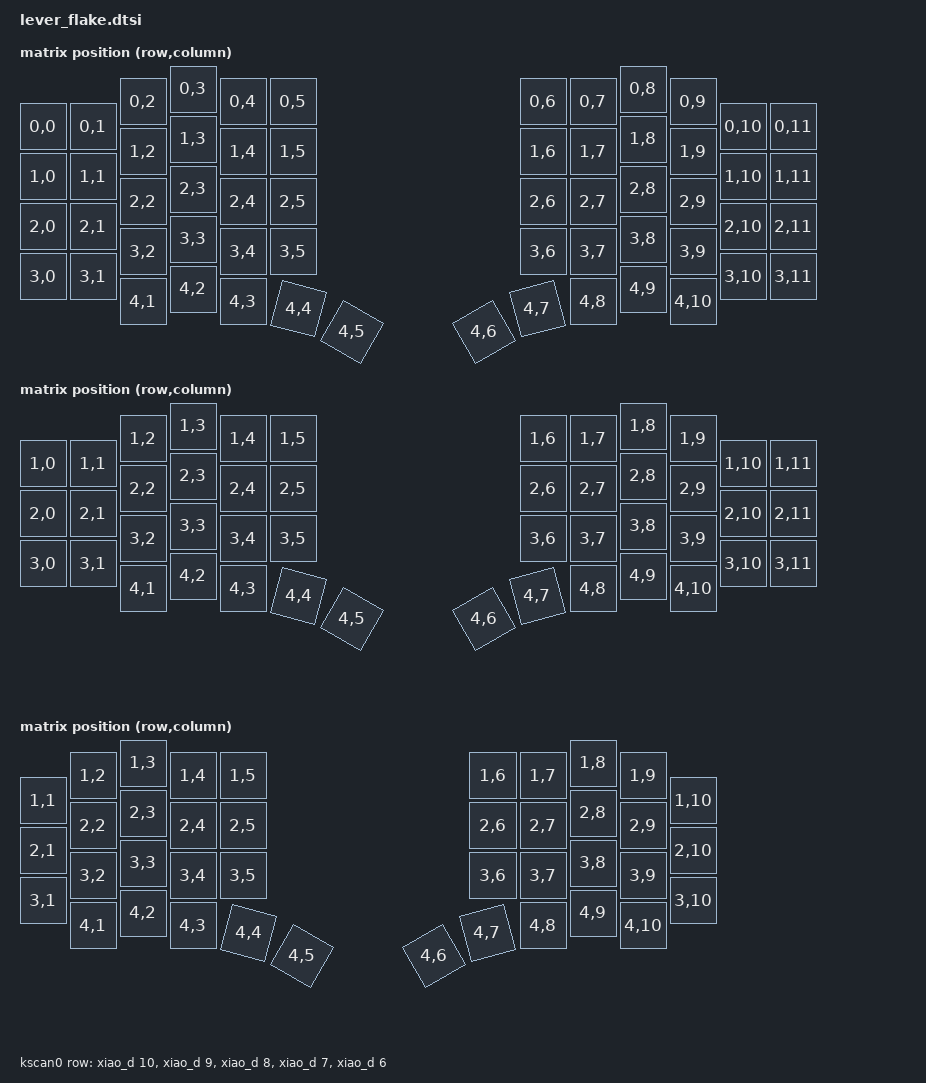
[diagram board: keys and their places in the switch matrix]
#include <dt-bindings/zmk/matrix_transform.h>
#include <physical_layouts.dtsi>

/ {
    kscan0: kscan0 {
        compatible = "zmk,kscan-gpio-matrix";
        diode-direction = "col2row";
        wakeup-source;

        row-gpios
        = <&xiao_d 10 (GPIO_ACTIVE_HIGH | GPIO_PULL_DOWN)>
        , <&xiao_d 9  (GPIO_ACTIVE_HIGH | GPIO_PULL_DOWN)>
        , <&xiao_d 8  (GPIO_ACTIVE_HIGH | GPIO_PULL_DOWN)>
        , <&xiao_d 7  (GPIO_ACTIVE_HIGH | GPIO_PULL_DOWN)>
        , <&xiao_d 6  (GPIO_ACTIVE_HIGH | GPIO_PULL_DOWN)>
        ;
    };

    chosen {
        zmk,kscan = &kscan0;
        zmk,physical-layout = &large_layout;
    };

    large_layout: large_layout {
        compatible = "zmk,physical-layout";
        display-name = "Flake L Layout";
        transform = <&large_transform>;

        keys  //                     w   h    x    y     rot    rx    ry
            = <&key_physical_attrs 100 100    0   75       0     0     0>
            , <&key_physical_attrs 100 100  100   75       0     0     0>
            , <&key_physical_attrs 100 100  200   25       0     0     0>
            , <&key_physical_attrs 100 100  300    0       0     0     0>
            , <&key_physical_attrs 100 100  400   25       0     0     0>
            , <&key_physical_attrs 100 100  500   25       0     0     0>
            , <&key_physical_attrs 100 100 1000   25       0     0     0>
            , <&key_physical_attrs 100 100 1100   25       0     0     0>
            , <&key_physical_attrs 100 100 1200    0       0     0     0>
            , <&key_physical_attrs 100 100 1300   25       0     0     0>
            , <&key_physical_attrs 100 100 1400   75       0     0     0>
            , <&key_physical_attrs 100 100 1500   75       0     0     0>
            , <&key_physical_attrs 100 100    0  175       0     0     0>
            , <&key_physical_attrs 100 100  100  175       0     0     0>
            , <&key_physical_attrs 100 100  200  125       0     0     0>
            , <&key_physical_attrs 100 100  300  100       0     0     0>
            , <&key_physical_attrs 100 100  400  125       0     0     0>
            , <&key_physical_attrs 100 100  500  125       0     0     0>
            , <&key_physical_attrs 100 100 1000  125       0     0     0>
            , <&key_physical_attrs 100 100 1100  125       0     0     0>
            , <&key_physical_attrs 100 100 1200  100       0     0     0>
            , <&key_physical_attrs 100 100 1300  125       0     0     0>
            , <&key_physical_attrs 100 100 1400  175       0     0     0>
            , <&key_physical_attrs 100 100 1500  175       0     0     0>
            , <&key_physical_attrs 100 100    0  275       0     0     0>
            , <&key_physical_attrs 100 100  100  275       0     0     0>
            , <&key_physical_attrs 100 100  200  225       0     0     0>
            , <&key_physical_attrs 100 100  300  200       0     0     0>
            , <&key_physical_attrs 100 100  400  225       0     0     0>
            , <&key_physical_attrs 100 100  500  225       0     0     0>
            , <&key_physical_attrs 100 100 1000  225       0     0     0>
            , <&key_physical_attrs 100 100 1100  225       0     0     0>
            , <&key_physical_attrs 100 100 1200  200       0     0     0>
            , <&key_physical_attrs 100 100 1300  225       0     0     0>
            , <&key_physical_attrs 100 100 1400  275       0     0     0>
            , <&key_physical_attrs 100 100 1500  275       0     0     0>
            , <&key_physical_attrs 100 100    0  375       0     0     0>
            , <&key_physical_attrs 100 100  100  375       0     0     0>
            , <&key_physical_attrs 100 100  200  325       0     0     0>
            , <&key_physical_attrs 100 100  300  300       0     0     0>
            , <&key_physical_attrs 100 100  400  325       0     0     0>
            , <&key_physical_attrs 100 100  500  325       0     0     0>
            , <&key_physical_attrs 100 100 1000  325       0     0     0>
            , <&key_physical_attrs 100 100 1100  325       0     0     0>
            , <&key_physical_attrs 100 100 1200  300       0     0     0>
            , <&key_physical_attrs 100 100 1300  325       0     0     0>
            , <&key_physical_attrs 100 100 1400  375       0     0     0>
            , <&key_physical_attrs 100 100 1500  375       0     0     0>
            , <&key_physical_attrs 100 100  200  425       0     0     0>
            , <&key_physical_attrs 100 100  300  400       0     0     0>
            , <&key_physical_attrs 100 100  400  425       0     0     0>
            , <&key_physical_attrs 100 100  500  425    1500   500   525>
            , <&key_physical_attrs 100 100  600  470    3000   630   560>
            , <&key_physical_attrs 100 100  900  470 (-3000)   970   560>
            , <&key_physical_attrs 100 100 1000  425 (-1500)  1100   525>
            , <&key_physical_attrs 100 100 1100  425       0     0     0>
            , <&key_physical_attrs 100 100 1200  400       0     0     0>
            , <&key_physical_attrs 100 100 1300  425       0     0     0>
            ;
    };

    large_transform: large_transform {
        compatible = "zmk,matrix-transform";
        columns = <12>;
        rows = <5>;
        map = <
RC(0,0) RC(0,1) RC(0,2) RC(0,3) RC(0,4) RC(0,5)  RC(0,6) RC(0,7) RC(0,8) RC(0,9) RC(0,10) RC(0,11)
RC(1,0) RC(1,1) RC(1,2) RC(1,3) RC(1,4) RC(1,5)  RC(1,6) RC(1,7) RC(1,8) RC(1,9) RC(1,10) RC(1,11)
RC(2,0) RC(2,1) RC(2,2) RC(2,3) RC(2,4) RC(2,5)  RC(2,6) RC(2,7) RC(2,8) RC(2,9) RC(2,10) RC(2,11)
RC(3,0) RC(3,1) RC(3,2) RC(3,3) RC(3,4) RC(3,5)  RC(3,6) RC(3,7) RC(3,8) RC(3,9) RC(3,10) RC(3,11)
        RC(4,1) RC(4,2) RC(4,3) RC(4,4) RC(4,5)  RC(4,6) RC(4,7) RC(4,8) RC(4,9) RC(4,10)
        >;
    };

    medium_layout: medium_layout {
        compatible = "zmk,physical-layout";
        display-name = "Flake M Layout";
        transform = <&medium_transform>;

        keys  //                     w   h    x    y     rot    rx    ry
            = <&key_physical_attrs 100 100    0   75       0     0     0>
            , <&key_physical_attrs 100 100  100   75       0     0     0>
            , <&key_physical_attrs 100 100  200   25       0     0     0>
            , <&key_physical_attrs 100 100  300    0       0     0     0>
            , <&key_physical_attrs 100 100  400   25       0     0     0>
            , <&key_physical_attrs 100 100  500   25       0     0     0>
            , <&key_physical_attrs 100 100 1000   25       0     0     0>
            , <&key_physical_attrs 100 100 1100   25       0     0     0>
            , <&key_physical_attrs 100 100 1200    0       0     0     0>
            , <&key_physical_attrs 100 100 1300   25       0     0     0>
            , <&key_physical_attrs 100 100 1400   75       0     0     0>
            , <&key_physical_attrs 100 100 1500   75       0     0     0>
            , <&key_physical_attrs 100 100    0  175       0     0     0>
            , <&key_physical_attrs 100 100  100  175       0     0     0>
            , <&key_physical_attrs 100 100  200  125       0     0     0>
            , <&key_physical_attrs 100 100  300  100       0     0     0>
            , <&key_physical_attrs 100 100  400  125       0     0     0>
            , <&key_physical_attrs 100 100  500  125       0     0     0>
            , <&key_physical_attrs 100 100 1000  125       0     0     0>
            , <&key_physical_attrs 100 100 1100  125       0     0     0>
            , <&key_physical_attrs 100 100 1200  100       0     0     0>
            , <&key_physical_attrs 100 100 1300  125       0     0     0>
            , <&key_physical_attrs 100 100 1400  175       0     0     0>
            , <&key_physical_attrs 100 100 1500  175       0     0     0>
            , <&key_physical_attrs 100 100    0  275       0     0     0>
            , <&key_physical_attrs 100 100  100  275       0     0     0>
            , <&key_physical_attrs 100 100  200  225       0     0     0>
            , <&key_physical_attrs 100 100  300  200       0     0     0>
            , <&key_physical_attrs 100 100  400  225       0     0     0>
            , <&key_physical_attrs 100 100  500  225       0     0     0>
            , <&key_physical_attrs 100 100 1000  225       0     0     0>
            , <&key_physical_attrs 100 100 1100  225       0     0     0>
            , <&key_physical_attrs 100 100 1200  200       0     0     0>
            , <&key_physical_attrs 100 100 1300  225       0     0     0>
            , <&key_physical_attrs 100 100 1400  275       0     0     0>
            , <&key_physical_attrs 100 100 1500  275       0     0     0>
            , <&key_physical_attrs 100 100  200  325       0     0     0>
            , <&key_physical_attrs 100 100  300  300       0     0     0>
            , <&key_physical_attrs 100 100  400  325       0     0     0>
            , <&key_physical_attrs 100 100  500  325    1500   500   425>
            , <&key_physical_attrs 100 100  600  370    3000   630   460>
            , <&key_physical_attrs 100 100  900  370 (-3000)   970   460>
            , <&key_physical_attrs 100 100 1000  325 (-1500)  1100   425>
            , <&key_physical_attrs 100 100 1100  325       0     0     0>
            , <&key_physical_attrs 100 100 1200  300       0     0     0>
            , <&key_physical_attrs 100 100 1300  325       0     0     0>
            ;
    };

    medium_transform: medium_transform {
        compatible = "zmk,matrix-transform";
        columns = <12>;
        rows = <4>;
        map = <
RC(1,0) RC(1,1) RC(1,2) RC(1,3) RC(1,4) RC(1,5)  RC(1,6) RC(1,7) RC(1,8) RC(1,9) RC(1,10) RC(1,11)
RC(2,0) RC(2,1) RC(2,2) RC(2,3) RC(2,4) RC(2,5)  RC(2,6) RC(2,7) RC(2,8) RC(2,9) RC(2,10) RC(2,11)
RC(3,0) RC(3,1) RC(3,2) RC(3,3) RC(3,4) RC(3,5)  RC(3,6) RC(3,7) RC(3,8) RC(3,9) RC(3,10) RC(3,11)
        RC(4,1) RC(4,2) RC(4,3) RC(4,4) RC(4,5)  RC(4,6) RC(4,7) RC(4,8) RC(4,9) RC(4,10)
        >;
    };

    small_layout: small_layout {
        compatible = "zmk,physical-layout";
        display-name = "Flake S Layout";
        transform = <&small_transform>;

        keys  //                     w   h    x    y     rot    rx    ry
            = <&key_physical_attrs 100 100    0   75       0     0     0>
            , <&key_physical_attrs 100 100  100   25       0     0     0>
            , <&key_physical_attrs 100 100  200    0       0     0     0>
            , <&key_physical_attrs 100 100  300   25       0     0     0>
            , <&key_physical_attrs 100 100  400   25       0     0     0>
            , <&key_physical_attrs 100 100  900   25       0     0     0>
            , <&key_physical_attrs 100 100 1000   25       0     0     0>
            , <&key_physical_attrs 100 100 1100    0       0     0     0>
            , <&key_physical_attrs 100 100 1200   25       0     0     0>
            , <&key_physical_attrs 100 100 1300   75       0     0     0>
            , <&key_physical_attrs 100 100    0  175       0     0     0>
            , <&key_physical_attrs 100 100  100  125       0     0     0>
            , <&key_physical_attrs 100 100  200  100       0     0     0>
            , <&key_physical_attrs 100 100  300  125       0     0     0>
            , <&key_physical_attrs 100 100  400  125       0     0     0>
            , <&key_physical_attrs 100 100  900  125       0     0     0>
            , <&key_physical_attrs 100 100 1000  125       0     0     0>
            , <&key_physical_attrs 100 100 1100  100       0     0     0>
            , <&key_physical_attrs 100 100 1200  125       0     0     0>
            , <&key_physical_attrs 100 100 1300  175       0     0     0>
            , <&key_physical_attrs 100 100    0  275       0     0     0>
            , <&key_physical_attrs 100 100  100  225       0     0     0>
            , <&key_physical_attrs 100 100  200  200       0     0     0>
            , <&key_physical_attrs 100 100  300  225       0     0     0>
            , <&key_physical_attrs 100 100  400  225       0     0     0>
            , <&key_physical_attrs 100 100  900  225       0     0     0>
            , <&key_physical_attrs 100 100 1000  225       0     0     0>
            , <&key_physical_attrs 100 100 1100  200       0     0     0>
            , <&key_physical_attrs 100 100 1200  225       0     0     0>
            , <&key_physical_attrs 100 100 1300  275       0     0     0>
            , <&key_physical_attrs 100 100  100  325       0     0     0>
            , <&key_physical_attrs 100 100  200  300       0     0     0>
            , <&key_physical_attrs 100 100  300  325       0     0     0>
            , <&key_physical_attrs 100 100  400  325    1500   400   425>
            , <&key_physical_attrs 100 100  500  370    3000   530   460>
            , <&key_physical_attrs 100 100  800  370 (-3000)   870   460>
            , <&key_physical_attrs 100 100  900  325 (-1500)  1000   425>
            , <&key_physical_attrs 100 100 1000  325       0     0     0>
            , <&key_physical_attrs 100 100 1100  300       0     0     0>
            , <&key_physical_attrs 100 100 1200  325       0     0     0>
            ;
    };

    small_transform: small_transform {
        compatible = "zmk,matrix-transform";
        columns = <10>;
        rows = <4>;
        map = <
RC(1,1) RC(1,2) RC(1,3) RC(1,4) RC(1,5)  RC(1,6) RC(1,7) RC(1,8) RC(1,9) RC(1,10)
RC(2,1) RC(2,2) RC(2,3) RC(2,4) RC(2,5)  RC(2,6) RC(2,7) RC(2,8) RC(2,9) RC(2,10)
RC(3,1) RC(3,2) RC(3,3) RC(3,4) RC(3,5)  RC(3,6) RC(3,7) RC(3,8) RC(3,9) RC(3,10)
RC(4,1) RC(4,2) RC(4,3) RC(4,4) RC(4,5)  RC(4,6) RC(4,7) RC(4,8) RC(4,9) RC(4,10)
        >;
    };

    position_map {
        compatible = "zmk,physical-layout-position-map";
        complete;

        large_layout {
            physical-layout = <&large_layout>;
            positions
                = < 0  1  2  3  4  5  6  7  8  9 10 11>
                , <12 13 14 15 16 17 18 19 20 21 22 23>
                , <24 25 26 27 28 29 30 31 32 33 34 35>
                , <36 37 38 39 40 41 42 43 44 45 46 47>
                , <   48 49 50 51 52 53 54 55 56 57   >
                ;
        };

        medium_layout {
            physical-layout = <&medium_layout>;
            positions
                = <46 47 48 49 50 51 52 53 54 55 56 57>
                , < 0  1  2  3  4  5  6  7  8  9 10 11>
                , <12 13 14 15 16 17 18 19 20 21 22 23>
                , <24 25 26 27 28 29 30 31 32 33 34 35>
                , <   36 37 38 39 40 41 42 43 44 45   >
                ;
        };

        small_layout {
            physical-layout = <&small_layout>;
            positions
                = <40 41 42 43 44 45 46 47 48 49 50 51>
                , <52  0  1  2  3  4  5  6  7  8  9 53>
                , <54 10 11 12 13 14 15 16 17 18 19 55>
                , <56 20 21 22 23 24 25 26 27 28 29 57>
                , <   30 31 32 33 34 35 36 37 38 39   >
                ;
        };
    };
};
